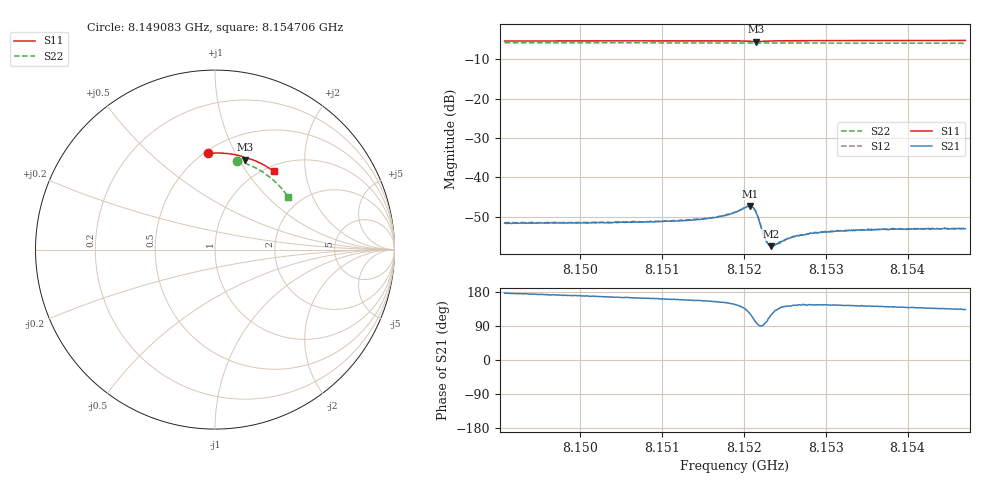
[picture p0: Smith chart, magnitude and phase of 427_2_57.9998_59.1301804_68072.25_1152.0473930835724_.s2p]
#  HZ  S  RI  R  50.00
! Rohde & Schwarz Vector Network Analyzer
! Rohde-Schwarz,ZNB20-2Port,1311601062101988,3.16
! Created: UTC 3/21/2024, 1:09:23 AM
! freq[Hz]  re:S11  im:S11  re:S21  im:S21  re:S12  im:S12  re:S22  im:S22
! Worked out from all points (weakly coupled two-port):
!   401 points, 8.149083 GHz to 8.154706 GHz, reference 50 ohm
!   highest |S21| = -47.28 dB at 8.152077 GHz (marker M1); lowest = -57.5 dB at 8.15233 GHz (marker M2)
!   lowest |S11| = -5.6 dB at 8.152147 GHz (marker M3), VSWR 3.23, Z = 38.1 + j52.9 ohm
!   |S11| at or under -10 dB: nowhere
!   |S22| runs from -6.0 to -5.8 dB; largest |S21 - S12| = 0.00012
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8.1490829e9  -0.0387 0.5355  -0.00262 0.000153  -0.00263 0.00023  0.122 0.496
8.1500247e9  0.0271 0.5379  -0.00259 0.000501  -0.00259 0.000556  0.1797 0.4768
8.1509665e9  0.0925 0.5322  -0.00257 0.000875  -0.00263 0.000947  0.2342 0.4512
8.1514867e9  0.1287 0.5251  -0.00269 0.00119  -0.00267 0.00123  0.2627 0.434
8.1516834e9  0.1429 0.5214  -0.00279 0.00141  -0.00279 0.00146  0.2734 0.4273
8.1518943e9  0.1586 0.5156  -0.003 0.00197  -0.003 0.00203  0.2844 0.4193
8.1520208e9  0.1674 0.5087  -0.00289 0.00296  -0.00287 0.00304  0.2908 0.4144
8.152077e9  0.1691 0.5038  -0.00229 0.00367  -0.00228 0.00372  0.2936 0.4123
8.1521192e9  0.1675 0.5011  -0.00134 0.00388  -0.0013 0.00392  0.2954 0.4106
8.1521473e9  0.1659 0.501  -0.00065 0.00361  -0.000615 0.00369  0.2967 0.4097
8.1521754e9  0.165 0.5025  -0.000181 0.00312  -0.000156 0.00313  0.2981 0.4087
8.1522317e9  0.1672 0.5064  -2.93e-05 0.00202  1.88e-06 0.00205  0.301 0.4068
8.1522598e9  0.1693 0.5078  -0.000217 0.00166  -0.000168 0.00169  0.3024 0.4057
8.152302e9  0.173 0.5087  -0.000472 0.00132  -0.000439 0.00135  0.3046 0.4041
8.1523301e9  0.1756 0.5088  -0.000632 0.00118  -0.000606 0.00121  0.3061 0.403
8.1523863e9  0.1805 0.5087  -0.000912 0.00105  -0.000875 0.00108  0.3088 0.4008
8.1524566e9  0.1861 0.5076  -0.00115 0.00101  -0.00112 0.00105  0.3123 0.3981
8.1526253e9  0.1985 0.5042  -0.00145 0.00103  -0.00144 0.00103  0.3205 0.3911
8.1528361e9  0.2131 0.4989  -0.00161 0.00111  -0.00163 0.00112  0.3306 0.3822
8.1531594e9  0.2343 0.4902  -0.00171 0.0012  -0.00169 0.00122  0.3455 0.3681
8.1537779e9  0.2728 0.4709  -0.00168 0.00139  -0.00168 0.00143  0.3722 0.3396
8.1547057e9  0.327 0.4368  -0.00153 0.00162  -0.00153 0.00164  0.4072 0.2937
